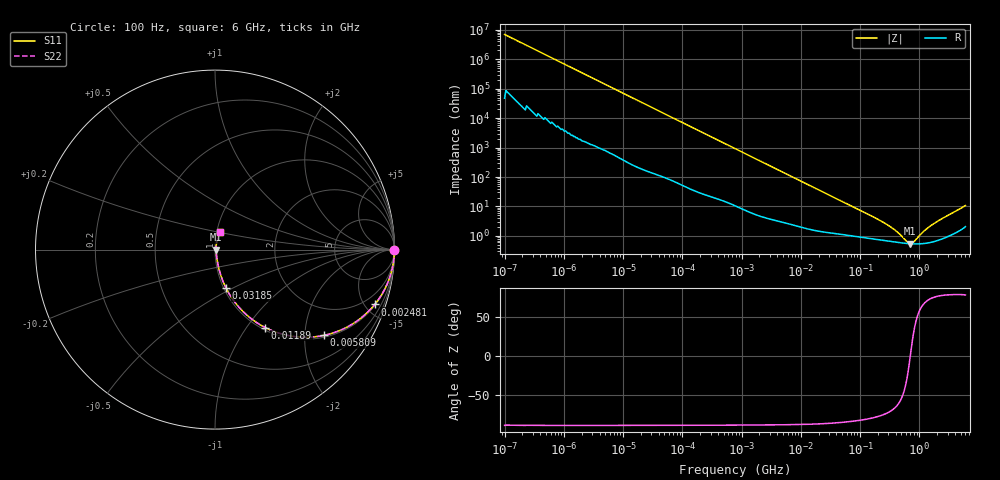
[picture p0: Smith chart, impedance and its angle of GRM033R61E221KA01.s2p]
!Murata Part Number: GRM033R61E221KA01
!These Parameters are Measured in Series Mode Connection
!Data Generated on Mar 30, 2021
!  o--ll--o
!Port1  Port2
!  o------o
!Operation Temp=25[degC], DC Bias Voltage=0[V]
!Freq. Start=100[Hz] Stop=6[GHz] 401[Steps]
# Hz S RI R 50
!Freq.(Hz) S11(Real) S11(Imag) S21(Real) S21(Imag) S12(Real) S12(Imag) S22(Real) S22(Imag)
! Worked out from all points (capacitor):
!   401 points, 100 Hz to 6 GHz, reference 50 ohm
!   read as one part in series: C = 230 pF near 109 Hz
!   lowest |Z| = 545 mohm at 699.5 MHz (marker M1)
!   series resonance near 704.5 MHz, so ESL is about 220 pH
!   S11 on the Smith chart (normalised r, x): 100 Hz: open; 2.481 MHz: 1.08, -5.80; 5.809 MHz: 1.05, -2.49; 11.89 MHz: 1.04, -1.23; 31.85 MHz: 1.03, -0.46; 6 GHz: 1.04, +0.21
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100  1 -1.45e-05  1e-07 1.45e-05  1e-07 1.45e-05  1 -1.45e-05
686  1 -9.88e-05  6e-07 9.88e-05  6e-07 9.88e-05  1 -9.88e-05
2008  1 -0.000288  1.5e-06 0.000288  1.5e-06 0.000288  1 -0.000288
40335  0.9999 -0.00573  7.01e-05 0.00573  7.01e-05 0.00573  0.9999 -0.00573
241822  0.9985 -0.0341  0.00145 0.0341  0.00145 0.0341  0.9985 -0.0341
774597  0.9872 -0.1069  0.0128 0.1069  0.0128 0.1069  0.9872 -0.1069
2481164  0.8903 -0.3055  0.1097 0.3055  0.1097 0.3055  0.8903 -0.3055
3712478  0.7866 -0.4011  0.2134 0.4011  0.2134 0.4011  0.7866 -0.4011
5809218  0.6065 -0.4779  0.3935 0.4779  0.3935 0.4779  0.6065 -0.4779
8311524  0.4354 -0.4834  0.5646 0.4834  0.5646 0.4834  0.4354 -0.4834
1.189169e7  0.2797 -0.4343  0.7203 0.4343  0.7203 0.4343  0.2797 -0.4343
1.555665e7  0.1895 -0.3753  0.8105 0.3753  0.8105 0.3753  0.1895 -0.3753
3.184506e7  0.0615 -0.2145  0.9385 0.2145  0.9385 0.2145  0.0615 -0.2145
8.154455e7  0.0177 -0.089  0.9823 0.089  0.9823 0.089  0.0177 -0.089
3.124326e8  0.00702 -0.0204  0.993 0.0204  0.993 0.0204  0.00702 -0.0204
4.274388e8  0.00618 -0.012  0.9938 0.012  0.9938 0.012  0.00618 -0.012
6.11557e8  0.00554 -0.00333  0.9945 0.00333  0.9945 0.00333  0.00554 -0.00333
6.994765e8  0.00542 -0.000168  0.9946 0.000168  0.9946 0.000168  0.00542 -0.000168
8.000355e8  0.00536 0.00303  0.9946 -0.00303  0.9946 -0.00303  0.00536 0.00303
1.197065e9  0.0057 0.0133  0.9943 -0.0133  0.9943 -0.0133  0.0057 0.0133
1.712697e9  0.00687 0.0242  0.9931 -0.0242  0.9931 -0.0242  0.00687 0.0242
6e9  0.0306 0.1002  0.9694 -0.1002  0.9694 -0.1002  0.0306 0.1002
